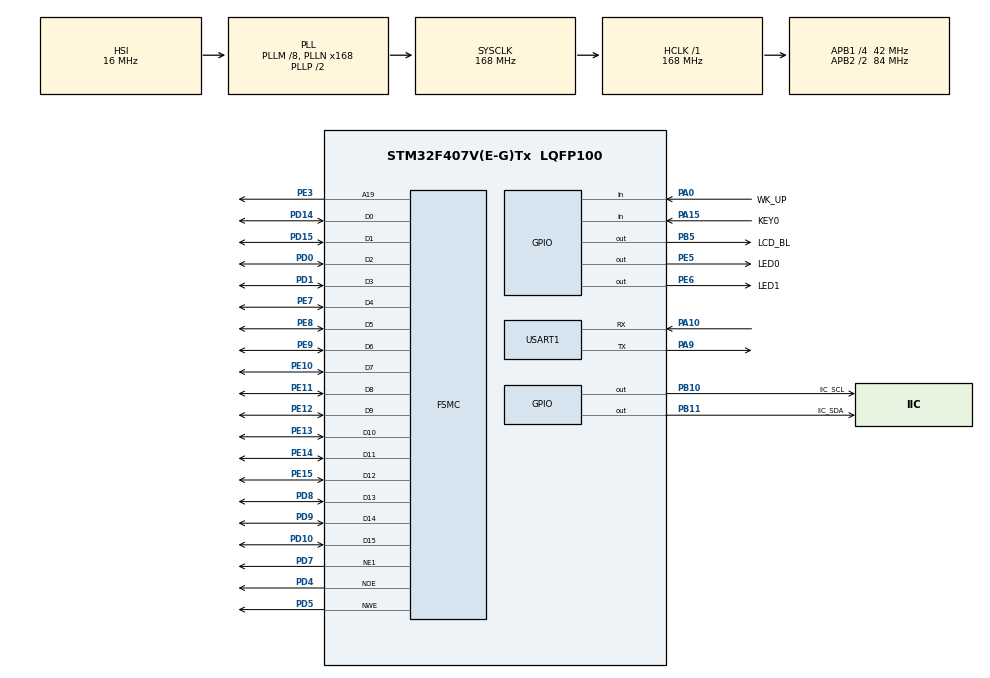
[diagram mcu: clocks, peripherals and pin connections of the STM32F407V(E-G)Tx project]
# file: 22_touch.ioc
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FSMC.AddressSetupTime1=15
FSMC.BusTurnAroundDuration1=0
FSMC.DataSetupTime1=60
FSMC.ExtendedAddressSetupTime1=9
FSMC.ExtendedDataSetupTime1=9
FSMC.ExtendedMode1=FSMC_EXTENDED_MODE_ENABLE
Mcu.Family=STM32F4
Mcu.Name=STM32F407V(E-G)Tx
Mcu.Package=LQFP100
NVIC.PriorityGroup=NVIC_PRIORITYGROUP_2
NVIC.USART1_IRQn=true\:2\:2\:true\:false\:true\:true\:true\:true
PA0-WKUP.GPIO_Label=WK_UP
PA0-WKUP.GPIO_PuPd=GPIO_PULLDOWN
PA0-WKUP.Signal=GPIO_Input
PA10.Mode=Asynchronous
PA10.Signal=USART1_RX
PA13.Mode=Serial_Wire
PA13.Signal=SYS_JTMS-SWDIO
PA14.Mode=Serial_Wire
PA14.Signal=SYS_JTCK-SWCLK
PA15.GPIO_Label=KEY0
PA15.GPIO_PuPd=GPIO_PULLDOWN
PA15.Signal=GPIO_Input
PA9.Mode=Asynchronous
PA9.Signal=USART1_TX
PB10.GPIO_Label=IIC_SCL
PB10.GPIO_ModeDefaultOutputPP=GPIO_MODE_OUTPUT_OD
PB10.GPIO_PuPd=GPIO_PULLUP
PB10.GPIO_Speed=GPIO_SPEED_FREQ_HIGH
PB10.PinState=GPIO_PIN_SET
PB10.Signal=GPIO_Output
PB11.GPIO_Label=IIC_SDA
PB11.GPIO_ModeDefaultOutputPP=GPIO_MODE_OUTPUT_OD
PB11.GPIO_PuPd=GPIO_PULLUP
PB11.GPIO_Speed=GPIO_SPEED_FREQ_HIGH
PB11.PinState=GPIO_PIN_SET
PB11.Signal=GPIO_Output
PB5.GPIO_Label=LCD_BL
PB5.GPIO_PuPd=GPIO_PULLUP
PB5.GPIO_Speed=GPIO_SPEED_FREQ_HIGH
PB5.PinState=GPIO_PIN_SET
PB5.Signal=GPIO_Output
PC14-OSC32_IN.Mode=LSE-External-Oscillator
PC14-OSC32_IN.Signal=RCC_OSC32_IN
PC15-OSC32_OUT.Mode=LSE-External-Oscillator
PC15-OSC32_OUT.Signal=RCC_OSC32_OUT
PD0.Mode=16b-d1
PD0.Signal=FSMC_D2
PD1.Mode=16b-d1
PD1.Signal=FSMC_D3
PD10.Mode=16b-d1
PD10.Signal=FSMC_D15
PD14.Mode=16b-d1
PD14.Signal=FSMC_D0
PD15.Mode=16b-d1
PD15.Signal=FSMC_D1
PD4.Mode=Lcd1
PD4.Signal=FSMC_NOE
PD5.Mode=Lcd1
PD5.Signal=FSMC_NWE
PD7.Mode=NorPsramChipSelect1_1
PD7.Signal=FSMC_NE1
PD8.Mode=16b-d1
PD8.Signal=FSMC_D13
PD9.Mode=16b-d1
PD9.Signal=FSMC_D14
PE10.Mode=16b-d1
PE10.Signal=FSMC_D7
PE11.Mode=16b-d1
PE11.Signal=FSMC_D8
PE12.Mode=16b-d1
PE12.Signal=FSMC_D9
PE13.Mode=16b-d1
PE13.Signal=FSMC_D10
PE14.Mode=16b-d1
PE14.Signal=FSMC_D11
PE15.Mode=16b-d1
PE15.Signal=FSMC_D12
PE3.Mode=A19_1
PE3.Signal=FSMC_A19
PE5.GPIO_Label=LED0
PE5.GPIO_PuPd=GPIO_PULLUP
PE5.GPIO_Speed=GPIO_SPEED_FREQ_HIGH
PE5.PinState=GPIO_PIN_SET
PE5.Signal=GPIO_Output
PE6.GPIO_Label=LED1
PE6.GPIO_PuPd=GPIO_PULLUP
PE6.GPIO_Speed=GPIO_SPEED_FREQ_HIGH
PE6.PinState=GPIO_PIN_SET
PE6.Signal=GPIO_Output
PE7.Mode=16b-d1
PE7.Signal=FSMC_D4
PE8.Mode=16b-d1
PE8.Signal=FSMC_D5
PE9.Mode=16b-d1
PE9.Signal=FSMC_D6
PH0-OSC_IN.Mode=HSE-External-Oscillator
PH0-OSC_IN.Signal=RCC_OSC_IN
PH1-OSC_OUT.Mode=HSE-External-Oscillator
PH1-OSC_OUT.Signal=RCC_OSC_OUT
ProjectManager.HeapSize=0x200
ProjectManager.StackSize=0x400
ProjectManager.TargetToolchain=STM32CubeIDE
RCC.48MHZClocksFreq_Value=84000000
RCC.AHBFreq_Value=168000000
RCC.APB1CLKDivider=RCC_HCLK_DIV4
RCC.APB1Freq_Value=42000000
RCC.APB1TimFreq_Value=84000000
RCC.APB2CLKDivider=RCC_HCLK_DIV2
RCC.APB2Freq_Value=84000000
RCC.APB2TimFreq_Value=168000000
RCC.CortexFreq_Value=168000000
RCC.HCLKFreq_Value=168000000
RCC.HSE_VALUE=25000000
RCC.HSI_VALUE=16000000
RCC.PLLM=8
RCC.PLLN=168
RCC.SYSCLKFreq_VALUE=168000000
RCC.SYSCLKSource=RCC_SYSCLKSOURCE_PLLCLK
RCC.VCOOutputFreq_Value=336000000
USART1.VirtualMode=VM_ASYNC
board=custom

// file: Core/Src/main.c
/**
 ****************************************************************************************************
 * @file        main.c
 * @author      ALIENTEK
 * @brief       touch code
 * @license     Copyright (C) 2012-2024, ALIENTEK
 ****************************************************************************************************
 * @attention
 *
 * platform     : ALIENTEK M100-STM32F407 board
 * website      : www.alientek.com
 * forum        : www.openedv.com/forum.php
 *
 * change logs  :
 * version      data         notes
 * V1.0         20240409     the first version
 *
 ****************************************************************************************************
 */

 /* USER CODE BEGIN Header */

/* USER CODE END Header */
#include "main.h"
#include "usart.h"
#include "gpio.h"
#include "fsmc.h"

/* USER CODE BEGIN Includes */
#include "../../BSP/IIC/myiic.h"
#include "../../BSP/24CXX/24cxx.h"
#include "../../BSP/LED/led.h"
#include "../../BSP/KEY/key.h"
#include "../../BSP/LCD/lcd.h"
#include "../../BSP/DELAY/delay.h"
#include "../../BSP/TOUCH/touch.h"
/* USER CODE END Includes */

/* USER CODE BEGIN PTD */
/**
 * @brief  Clears the screen and displays "RST" in the top right corner
 * @param  None
 * @retval None
 */
void load_draw_dialog(void)
{
    lcd_clear(WHITE);
    lcd_show_string(lcddev.width - 24, 0, 200, 16, 16, "RST", BLUE); /* Display clear screen area */
}

/**
 * @brief   Draw the thick line
 * @param   x1,y1 : the coordinates of the starting point
 * @param   x2,y2 : Endpoint coordinates
 * @param   size  : The thickness of the line
 * @param   color : The color of the line
 * @retval  None
 */
void lcd_draw_bline(uint16_t x1, uint16_t y1, uint16_t x2, uint16_t y2, uint8_t size, uint16_t color)
{
    uint16_t t;
    int xerr = 0, yerr = 0, delta_x, delta_y, distance;
    int incx, incy, row, col;

    if (x1 < size || x2 < size || y1 < size || y2 < size)
        return;

    delta_x = x2 - x1; /* Calculating coordinate increments */
    delta_y = y2 - y1;
    row = x1;
    col = y1;

    if (delta_x > 0)
    {
        incx = 1; /* Set the single-step direction */
    }
    else if (delta_x == 0)
    {
        incx = 0; /* perpendicular line */
    }
    else
    {
        incx = -1;
        delta_x = -delta_x;
    }

    if (delta_y > 0)
    {
        incy = 1;
    }
    else if (delta_y == 0)
    {
        incy = 0; /* horizontal line */
    }
    else
    {
        incy = -1;
        delta_y = -delta_y;
    }

    if (delta_x > delta_y)
        distance = delta_x; /* Select the basic increment axis */
    else
        distance = delta_y;

    for (t = 0; t <= distance + 1; t++)
    {
        lcd_fill_circle(row, col, size, color);
        xerr += delta_x;
        yerr += delta_y;

        if (xerr > distance)
        {
            xerr -= distance;
            row += incx;
        }

        if (yerr > distance)
        {
            yerr -= distance;
            col += incy;
        }
    }
}

/**
 * @brief   resistive touch screen test function
 * @param   None
 * @retval  None
 */
void rtp_test(void)
{
    uint8_t key;
    uint8_t i = 0;

    while (1)
    {
        key = key_scan(0);
        tp_dev.scan(0);

        if (tp_dev.sta & TP_PRES_DOWN)  /* The touch screen is pressed */
        {
            if (tp_dev.x[0] < lcddev.width && tp_dev.y[0] < lcddev.height)
            {
                if (tp_dev.x[0] > (lcddev.width - 24) && tp_dev.y[0] < 16)
                {
                    load_draw_dialog();
                }
                else
                {
                    tp_draw_big_point(tp_dev.x[0], tp_dev.y[0], RED);   /* draw point */
                }
            }
        }
        else
        {
            HAL_Delay(10);      /* When there is no key pressed */
        }

        if (key == KEY0_PRES)   /* When KEY0 is pressed, the calibration procedure is executed */
        {
            lcd_clear(WHITE);   /* Clear screen */
            tp_adjust();        /* Screen calibration */
            tp_save_adjust_data();
            load_draw_dialog();
        }

        i++;

        if (i % 20 == 0)LED0_TOGGLE();
    }
}

/* Color of 10 touch points (for capacitive touch screens) */
const uint16_t POINT_COLOR_TBL[10] = {RED, GREEN, BLUE, BROWN, YELLOW, MAGENTA, CYAN, LIGHTBLUE, BRRED, GRAY};

/**
 * @brief  Capacitive touch screen test function
 * @param  None
 * @retval None
 */
void ctp_test(void)
{
    uint8_t t = 0;
    uint8_t i = 0;
    uint16_t lastpos[10][2];        /* The last data */
    uint8_t maxp = 5;

    if (lcddev.id == 0X1018)maxp = 10;

    while (1)
    {
        tp_dev.scan(0);

        for (t = 0; t < maxp; t++)
        {
            if ((tp_dev.sta) & (1 << t))
            {
                if (tp_dev.x[t] < lcddev.width && tp_dev.y[t] < lcddev.height)  /* The coordinates are in screen range */
                {
                    if (lastpos[t][0] == 0XFFFF)
                    {
                        lastpos[t][0] = tp_dev.x[t];
                        lastpos[t][1] = tp_dev.y[t];
                    }

                    lcd_draw_bline(lastpos[t][0], lastpos[t][1], tp_dev.x[t], tp_dev.y[t], 2, POINT_COLOR_TBL[t]); /* draw line */
                    lastpos[t][0] = tp_dev.x[t];
                    lastpos[t][1] = tp_dev.y[t];

                    if (tp_dev.x[t] > (lcddev.width - 24) && tp_dev.y[t] < 20)
                    {
                        load_draw_dialog();   /* clear */
                    }
                }
            }
            else
            {
                lastpos[t][0] = 0XFFFF;
            }
        }

        HAL_Delay(5);
        i++;

        if (i % 20 == 0)LED0_TOGGLE();
    }
}
/* USER CODE END PTD */

/* USER CODE BEGIN PD */
/**
 * @brief   Displays information about the experiment
 * @param   None
 * @retval  None
 */
void stm32f407vg_show_mesg(void)
{
	/* The serial port outputs the experimental information */
	printf("\n");
	printf("********************************\r\n");
	printf("STM32F407\r\n");
	printf("TOUCH Test\r\n");
	printf("ATOM@ALIENTEK\r\n");
	printf("********************************\r\n");
	printf("\r\n");
}
/* USER CODE END PD */

void SystemClock_Config(void);

int main(void)
{

  /* MCU Configuration--------------------------------------------------------*/

  /* Reset of all peripherals, Initializes the Flash interface and the Systick. */
  HAL_Init();

  /* USER CODE BEGIN Init */
  delay_init(168);
  /* USER CODE END Init */

  /* Configure the system clock */
  SystemClock_Config();

  /* Initialize all configured peripherals */
  MX_GPIO_Init();
  MX_USART1_UART_Init();
  MX_FSMC_Init();
  /* USER CODE BEGIN 2 */
  lcd_init();                           /* Initialize LCD */
  tp_dev.init();                        /* Initialize Touch */
  stm32f407vg_show_mesg();

  lcd_show_string(30, 50, 200, 16, 16, "STM32", RED);
  lcd_show_string(30, 70, 200, 16, 16, "TOUCH TEST", RED);
  lcd_show_string(30, 90, 200, 16, 16, "ATOM@ALIENTEK", RED);
  if (tp_dev.touchtype != 0XFF)
  {
      lcd_show_string(30, 110, 200, 16, 16, "Press KEY0 to Adjust", RED); /* The resistor screen shows */
  }

  HAL_Delay(1500);
  load_draw_dialog();

  if (tp_dev.touchtype & 0X80)
  {
      ctp_test(); /* Capacitive screen test */
  }
  else
  {
      rtp_test(); /* Resistance screen test */
  }
  /* USER CODE END 2 */

  /* Infinite loop */
  /* USER CODE BEGIN WHILE */
  while (1)
  {
    HAL_Delay(10);             /* delay 10ms */
    /* USER CODE END WHILE */

  }
}

void SystemClock_Config(void)
{
  RCC_OscInitTypeDef RCC_OscInitStruct = {0};
  RCC_ClkInitTypeDef RCC_ClkInitStruct = {0};

  /** Configure the main internal regulator output voltage
  */
  __HAL_RCC_PWR_CLK_ENABLE();
  __HAL_PWR_VOLTAGESCALING_CONFIG(PWR_REGULATOR_VOLTAGE_SCALE1);

  /** Initializes the RCC Oscillators according to the specified parameters
  * in the RCC_OscInitTypeDef structure.
  */
  RCC_OscInitStruct.OscillatorType = RCC_OSCILLATORTYPE_HSI;
  RCC_OscInitStruct.HSIState = RCC_HSI_ON;
  RCC_OscInitStruct.HSICalibrationValue = RCC_HSICALIBRATION_DEFAULT;
  RCC_OscInitStruct.PLL.PLLState = RCC_PLL_ON;
  RCC_OscInitStruct.PLL.PLLSource = RCC_PLLSOURCE_HSI;
  RCC_OscInitStruct.PLL.PLLM = 8;
  RCC_OscInitStruct.PLL.PLLN = 168;
  RCC_OscInitStruct.PLL.PLLP = RCC_PLLP_DIV2;
  RCC_OscInitStruct.PLL.PLLQ = 4;
  if (HAL_RCC_OscConfig(&RCC_OscInitStruct) != HAL_OK)
  {
    Error_Handler();
  }

  /** Initializes the CPU, AHB and APB buses clocks
  */
  RCC_ClkInitStruct.ClockType = RCC_CLOCKTYPE_HCLK|RCC_CLOCKTYPE_SYSCLK
                              |RCC_CLOCKTYPE_PCLK1|RCC_CLOCKTYPE_PCLK2;
  RCC_ClkInitStruct.SYSCLKSource = RCC_SYSCLKSOURCE_PLLCLK;
  RCC_ClkInitStruct.AHBCLKDivider = RCC_SYSCLK_DIV1;
  RCC_ClkInitStruct.APB1CLKDivider = RCC_HCLK_DIV4;
  RCC_ClkInitStruct.APB2CLKDivider = RCC_HCLK_DIV2;

  if (HAL_RCC_ClockConfig(&RCC_ClkInitStruct, FLASH_LATENCY_5) != HAL_OK)
  {
    Error_Handler();
  }
}

void Error_Handler(void)
{
  __disable_irq();
  while (1)
  {
  }
}
